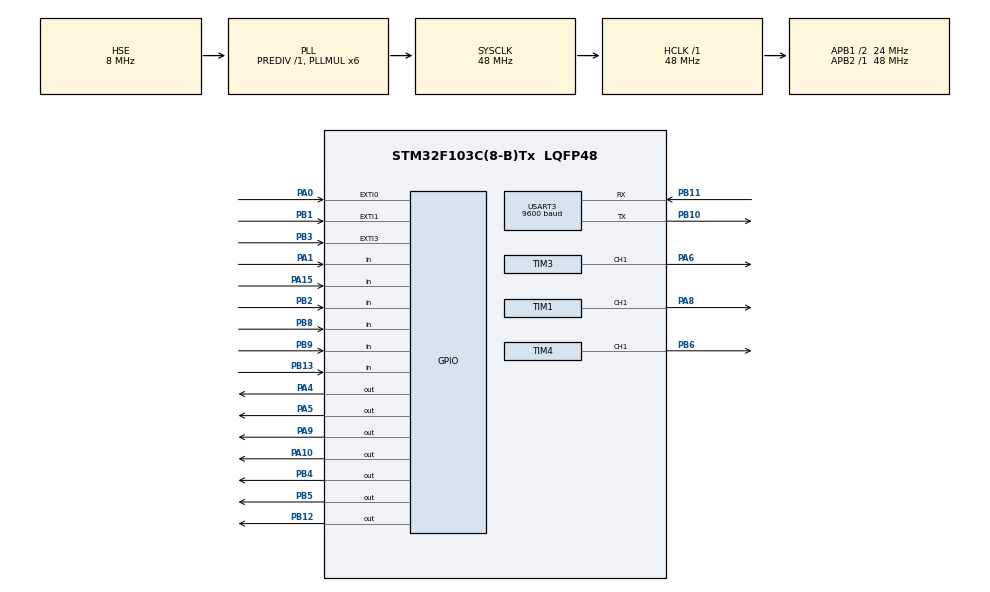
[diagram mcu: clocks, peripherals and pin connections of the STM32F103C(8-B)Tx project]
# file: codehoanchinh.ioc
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Dma.Request0=USART3_RX
Dma.USART3_RX.0.Direction=DMA_PERIPH_TO_MEMORY
Dma.USART3_RX.0.Instance=DMA1_Channel3
Dma.USART3_RX.0.MemDataAlignment=DMA_MDATAALIGN_BYTE
Dma.USART3_RX.0.MemInc=DMA_MINC_ENABLE
Dma.USART3_RX.0.Mode=DMA_CIRCULAR
Dma.USART3_RX.0.PeriphDataAlignment=DMA_PDATAALIGN_BYTE
Dma.USART3_RX.0.PeriphInc=DMA_PINC_DISABLE
Dma.USART3_RX.0.Priority=DMA_PRIORITY_LOW
Mcu.Family=STM32F1
Mcu.Name=STM32F103C(8-B)Tx
Mcu.Package=LQFP48
NVIC.DMA1_Channel3_IRQn=true\:0\:0\:false\:false\:true\:false\:true\:true
NVIC.EXTI0_IRQn=true\:2\:0\:true\:false\:true\:true\:true\:true
NVIC.EXTI1_IRQn=true\:2\:0\:true\:false\:true\:true\:true\:true
NVIC.EXTI3_IRQn=true\:1\:0\:true\:false\:true\:true\:true\:true
NVIC.PriorityGroup=NVIC_PRIORITYGROUP_4
NVIC.TIM2_IRQn=true\:1\:0\:true\:false\:true\:true\:true\:true
NVIC.USART3_IRQn=true\:1\:0\:true\:false\:true\:true\:true\:true
PA0-WKUP.GPIO_ModeDefaultEXTI=GPIO_MODE_IT_FALLING
PA0-WKUP.GPIO_PuPd=GPIO_PULLUP
PA0-WKUP.Signal=GPXTI0
PA1.GPIO_PuPd=GPIO_PULLUP
PA1.Signal=GPIO_Input
PA10.Signal=GPIO_Output
PA13.Mode=Serial_Wire
PA13.Signal=SYS_JTMS-SWDIO
PA14.Mode=Serial_Wire
PA14.Signal=SYS_JTCK-SWCLK
PA15.GPIO_PuPd=GPIO_PULLUP
PA15.Signal=GPIO_Input
PA4.Signal=GPIO_Output
PA5.Signal=GPIO_Output
PA6.Signal=S_TIM3_CH1
PA8.Signal=S_TIM1_CH1
PA9.Signal=GPIO_Output
PB1.GPIO_PuPd=GPIO_PULLUP
PB1.Signal=GPXTI1
PB10.Mode=Asynchronous
PB10.Signal=USART3_TX
PB11.Mode=Asynchronous
PB11.Signal=USART3_RX
PB12.GPIO_PuPd=GPIO_PULLDOWN
PB12.Signal=GPIO_Output
PB13.GPIO_PuPd=GPIO_PULLDOWN
PB13.Signal=GPIO_Input
PB2.GPIO_PuPd=GPIO_PULLUP
PB2.Signal=GPIO_Input
PB3.GPIO_ModeDefaultEXTI=GPIO_MODE_IT_FALLING
PB3.GPIO_PuPd=GPIO_PULLUP
PB3.Signal=GPXTI3
PB4.Signal=GPIO_Output
PB5.Signal=GPIO_Output
PB6.Signal=S_TIM4_CH1
PB8.GPIO_PuPd=GPIO_PULLDOWN
PB8.Signal=GPIO_Input
PB9.GPIO_PuPd=GPIO_PULLDOWN
PB9.Signal=GPIO_Input
PD0-OSC_IN.Mode=HSE-External-Oscillator
PD0-OSC_IN.Signal=RCC_OSC_IN
PD1-OSC_OUT.Mode=HSE-External-Oscillator
PD1-OSC_OUT.Signal=RCC_OSC_OUT
ProjectManager.HeapSize=0x200
ProjectManager.StackSize=0x400
ProjectManager.TargetToolchain=MDK-ARM V5.32
RCC.AHBFreq_Value=48000000
RCC.APB1CLKDivider=RCC_HCLK_DIV2
RCC.APB1Freq_Value=24000000
RCC.APB1TimFreq_Value=48000000
RCC.APB2Freq_Value=48000000
RCC.APB2TimFreq_Value=48000000
RCC.HCLKFreq_Value=48000000
RCC.PLLMUL=RCC_PLL_MUL6
RCC.PLLSourceVirtual=RCC_PLLSOURCE_HSE
RCC.SYSCLKFreq_VALUE=48000000
RCC.SYSCLKSource=RCC_SYSCLKSOURCE_PLLCLK
RCC.USBFreq_Value=48000000
SH.S_TIM1_CH1.0=TIM1_CH1,PWM Generation1 CH1
SH.S_TIM3_CH1.0=TIM3_CH1,PWM Generation1 CH1
SH.S_TIM4_CH1.0=TIM4_CH1,PWM Generation1 CH1
TIM1.Channel-PWM\ Generation1\ CH1=TIM_CHANNEL_1
TIM1.Period=254
TIM1.Prescaler=1881
TIM2.Period=99
TIM2.Prescaler=4799
TIM3.Channel-PWM\ Generation1\ CH1=TIM_CHANNEL_1
TIM3.Period=254
TIM3.Prescaler=1881
TIM4.Channel-PWM\ Generation1\ CH1=TIM_CHANNEL_1
TIM4.Period=254
TIM4.Prescaler=1881
USART3.BaudRate=9600
USART3.VirtualMode=VM_ASYNC
VP_TIM1_VS_ClockSourceINT.Mode=Internal
VP_TIM2_VS_ClockSourceINT.Mode=Internal
VP_TIM3_VS_ClockSourceINT.Mode=Internal
VP_TIM4_VS_ClockSourceINT.Mode=Internal
board=custom

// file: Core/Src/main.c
/* USER CODE BEGIN Header */
/**
  ******************************************************************************
  * @file           : main.c
  * @brief          : Main program body
  ******************************************************************************
  * @attention
  *
  * Copyright (c) 2023 STMicroelectronics.
  * All rights reserved.
  *
  * This software is licensed under terms that can be found in the LICENSE file
  * in the root directory of this software component.
  * If no LICENSE file comes with this software, it is provided AS-IS.
  *
  ******************************************************************************
  */
/* USER CODE END Header */
#include "main.h"

/* USER CODE BEGIN Includes */
#include <stdlib.h>
#include <stdio.h> // for sprintf and sscanf
#include <string.h>

/* USER CODE END Includes */

TIM_HandleTypeDef htim1;
TIM_HandleTypeDef htim2;
TIM_HandleTypeDef htim3;
TIM_HandleTypeDef htim4;

UART_HandleTypeDef huart3;
DMA_HandleTypeDef hdma_usart3_rx;

/* USER CODE BEGIN PV */
#define pick HAL_GPIO_WritePin(GPIOB, GPIO_PIN_12, GPIO_PIN_SET)
#define drop HAL_GPIO_WritePin(GPIOB, GPIO_PIN_12, GPIO_PIN_RESET)
/* USER CODE END PV */

void SystemClock_Config(void);
static void MX_GPIO_Init(void);
static void MX_DMA_Init(void);
static void MX_TIM1_Init(void);
static void MX_TIM2_Init(void);
static void MX_TIM3_Init(void);
static void MX_TIM4_Init(void);
static void MX_USART3_UART_Init(void);
/* USER CODE BEGIN PFP */
uint8_t buff[10];uint16_t size ;
#define RX_SIZE 10
uint8_t rxBuffer[RX_SIZE] = {0};
uint8_t uart_buff[10];
uint8_t count,READ,len;
char char_buff[10];
int a,b,c;
float value;
float vitridat,vitridat2,vitridat3;
float vitridat_last;
uint8_t flag;
uint8_t sensorValue1,sensorValue2,sensorValue3;
int flag1,flag2,flag3;
//const int phase_a = GPIO_PIN_0;  // Ch?n GPIO_PIN tuong ?ng v?i phase_a
//const int phase_b = GPIO_PIN_1;  // Ch?n GPIO_PIN tuong ?ng v?i phase_b
const int encoder_pulse = 1793;  // S? xung m?i vтng (thay d?i theo ph?n c?ng)

float T,pulseLast;
volatile float pulse=0;
float E,E1,E2;
float vitri,vitri_last,vitridat_last;
float alpha, beta, gamma, Kp, Kd, Ki;
float Output,LastOutput;

int dao;

float pulseLast2;
volatile float pulse2=0;
float Ea,E1a,E2a;
float vitri2,vitri_last2,vitridat_last2;
float alpha2, beta2, gamma2, Kp2, Kd2, Ki2;
float Output2,LastOutput2;

float pulseLast3;
volatile float pulse3=0;
float Eb,E1b,E2b;
float vitri3,vitri_last3,vitridat_last3;
float alpha3, beta3, gamma3, Kp3, Kd3, Ki3;
float Output3,LastOutput3;

void checkSetHomeDC1()
{
	if(sensorValue1==1)
	{
		if(flag1==0)
		{
			HAL_TIM_PWM_Stop(&htim1, TIM_CHANNEL_1);
		vitridat= 0;vitri=0;pulse=0;
		flag1=1;
	}
		}
		if(flag1==1)
		{
			HAL_TIM_PWM_Start(&htim1, TIM_CHANNEL_1);
			vitridat=140*40/16;
			if(vitri>vitridat-10 && vitri<vitridat+5)
				{
					pulse=0;
					vitri=0; vitridat=0;flag1=0;
				}
		}
}

void checkSetHomeDC2()
{
	if(sensorValue2==1)
	{
		if(flag2==0)
		{
			HAL_TIM_PWM_Stop(&htim3, TIM_CHANNEL_1);
			vitridat2=0;vitri2=0;pulse2=0;
			flag2=1;
		}
	}
		if(flag2==1)
		{
			HAL_TIM_PWM_Start(&htim3, TIM_CHANNEL_1);
			vitridat2=180*60/16;
			if(vitri2>vitridat2-3 && vitri2<vitridat2+3)
				{
					pulse2=0;
					vitri2=0; vitridat2=0;flag2=0;
				}
		}
}
void checkSetHomeDC3()
{
	if(sensorValue3==1)
	{
		if(flag3==0)
		{
			HAL_TIM_PWM_Stop(&htim4, TIM_CHANNEL_1);
			vitridat3=0;vitri3=0;pulse3=0;
			flag3=1;
		}
	}
		if(flag3==1)
		{
			HAL_TIM_PWM_Start(&htim4, TIM_CHANNEL_1);
			vitridat3=-95*60/16;
			if(vitri3>vitridat3-10&& vitri3<vitridat3+5)
				{

					pulse3=0;
					vitri3=0; vitridat3=0;flag3=0;
				}
		}
}
void pick_drop()
{
	if(c==2)
	{
		if(dao%2==0)
		{
			drop;
		}
		else{
			pick;
		}
	}
}
void readSensor()
{
	sensorValue1 = HAL_GPIO_ReadPin(GPIOB, GPIO_PIN_13);
	sensorValue2 = HAL_GPIO_ReadPin(GPIOB, GPIO_PIN_8);
	sensorValue3 = HAL_GPIO_ReadPin(GPIOB, GPIO_PIN_9);
	checkSetHomeDC1();
	checkSetHomeDC2();
	checkSetHomeDC3();
	READ = HAL_GPIO_ReadPin(GPIOB, GPIO_PIN_12);
	//pick_drop();
}

void HAL_GPIO_EXTI_Callback(uint16_t GPIO_Pin)
{
    if (GPIO_Pin == GPIO_PIN_0) // GPIO_PIN_0 lа nъt nh?n k?t n?i d?n chвn GPIOx_PIN_0
    {
         if (HAL_GPIO_ReadPin(GPIOA, GPIO_PIN_1) == GPIO_PIN_SET)
        {
            pulse--;
        }
        else
        {
            pulse++;
        }
    }
		else if(GPIO_Pin == GPIO_PIN_1)
		{
			if (HAL_GPIO_ReadPin(GPIOB, GPIO_PIN_2) == GPIO_PIN_SET)
        {
            pulse2++;
        }
        else
        {
            pulse2--;
        }
		}
		else if(GPIO_Pin == GPIO_PIN_3)
		{
			if (HAL_GPIO_ReadPin(GPIOA, GPIO_PIN_15) == GPIO_PIN_SET)
        {
					a++;
            pulse3--;
        }
        else
        {
					a--;
            pulse3++;
        }
		}
}

void PID() {
	  a++;
    vitri = pulse * 360.0 / encoder_pulse;
    E = vitridat - vitri;
    alpha = 2 * T * Kp + Ki * T * T + 2 * Kd;
    beta = T * T * Ki - 4 * Kd - 2 * T * Kp;
    gamma = 2 * Kd;
    Output = (alpha * E + beta * E1 + gamma * E2 + 2 * T * LastOutput) / (2 * T);
    LastOutput = Output;
    E2 = E1;
    E1 = E;

    if (Output > 254) {
        Output = 254;

    }
    if (Output < -254) {
        Output = -254;

    }

    if (Output > 0) {
        __HAL_TIM_SetCompare(&htim1,TIM_CHANNEL_1,Output/4);
        HAL_GPIO_WritePin(GPIOA, GPIO_PIN_9, 1);
        HAL_GPIO_WritePin(GPIOA, GPIO_PIN_10, 0);
    } else if (Output < 0) {
        __HAL_TIM_SetCompare(&htim1,TIM_CHANNEL_1,abs((int)(Output/4)));
        HAL_GPIO_WritePin(GPIOA, GPIO_PIN_9, 0);
        HAL_GPIO_WritePin(GPIOA, GPIO_PIN_10, 1);
    } else {
        __HAL_TIM_SetCompare(&htim1,TIM_CHANNEL_1,0);
        HAL_GPIO_WritePin(GPIOA, GPIO_PIN_9, 0);
        HAL_GPIO_WritePin(GPIOA, GPIO_PIN_10, 0);
    }
}

void PID2() {

    vitri2 = pulse2 * 360.0 / encoder_pulse;
    Ea = vitridat2 - vitri2;
    alpha2 = 2 * T * Kp2 + Ki2 * T * T + 2 * Kd2;
    beta2 = T * T * Ki2 - 4 * Kd2 - 2 * T * Kp2;
    gamma2 = 2 * Kd2;
    Output2 = (alpha2 * Ea + beta2 * E1a + gamma2 * E2a + 2 * T * LastOutput2) / (2 * T);
    LastOutput2 = Output2;
    E2a = E1a;
    E1a = Ea;

    if (Output2 > 254) {
        Output2 = 254;

    }
    if (Output2 < -254) {
        Output2 = -254;

    }
		/*test=(int)Output*100/255;*/

    if (Output2 > 0) {
        __HAL_TIM_SetCompare(&htim3,TIM_CHANNEL_1,(Output2)/3);
        HAL_GPIO_WritePin(GPIOA, GPIO_PIN_4, 1);
        HAL_GPIO_WritePin(GPIOA, GPIO_PIN_5, 0);
    } else if (Output2 < 0) {
        __HAL_TIM_SetCompare(&htim3,TIM_CHANNEL_1,abs((int)((Output2)/3)));
        HAL_GPIO_WritePin(GPIOA, GPIO_PIN_4, 0);
        HAL_GPIO_WritePin(GPIOA, GPIO_PIN_5, 1);
    } else {
        __HAL_TIM_SetCompare(&htim3,TIM_CHANNEL_1,0);
        HAL_GPIO_WritePin(GPIOA, GPIO_PIN_4, 0);
        HAL_GPIO_WritePin(GPIOA, GPIO_PIN_5, 0);
    }
}

void PID3() {
		//c++;
    vitri3 = pulse3 * 360.0 / encoder_pulse;
    Eb = vitridat3 - vitri3;
    alpha3 = 2 * T * Kp3 + Ki3 * T * T + 2 * Kd3;
    beta3 = T * T * Ki3 - 4 * Kd3 - 2 * T * Kp3;
    gamma3 = 2 * Kd3;
    Output3 = (alpha3 * Eb + beta3 * E1b + gamma3 * E2b + 2 * T * LastOutput3) / (2 * T);
    LastOutput3 = Output3;
    E2b = E1b;
    E1b = Eb;

    if (Output3 > 254) {
        Output3 = 254;

    }
    if (Output3 < -254) {
        Output3 = -254;

    }
		/*test=(int)Output*100/255;*/

    if (Output3 > 0) {
        __HAL_TIM_SetCompare(&htim4,TIM_CHANNEL_1,(Output3)/3);
        HAL_GPIO_WritePin(GPIOB, GPIO_PIN_4, 1);
        HAL_GPIO_WritePin(GPIOB, GPIO_PIN_5, 0);
    } else if (Output3 < 0) {
        __HAL_TIM_SetCompare(&htim4,TIM_CHANNEL_1,abs((int)((Output3)/3)));
        HAL_GPIO_WritePin(GPIOB, GPIO_PIN_4, 0);
        HAL_GPIO_WritePin(GPIOB, GPIO_PIN_5, 1);
    } else {
        __HAL_TIM_SetCompare(&htim4,TIM_CHANNEL_1,0);
        HAL_GPIO_WritePin(GPIOB, GPIO_PIN_4, 0);
        HAL_GPIO_WritePin(GPIOB, GPIO_PIN_5, 0);
    }
}

void HAL_TIM_PeriodElapsedCallback(TIM_HandleTypeDef *htim) {
	/*static uint16_t cnt =99;*/
  if (htim->Instance == htim2.Instance) {
			readSensor();
      PID();
			//PID2();
			//PID3();
	}

}

void HAL_UARTEx_RxEventCallback(UART_HandleTypeDef *huart, uint16_t Size)
{

	if(rxBuffer[0] == '\n')
	{
		flag=1;len=0;//HAL_GPIO_WritePin(GPIOB, GPIO_PIN_12, GPIO_PIN_SET);
	}
	else
	{
		uart_buff[len++] = rxBuffer[0];
	}
}
/* USER CODE END PFP */

int main(void)
{

  /* MCU Configuration--------------------------------------------------------*/

  /* Reset of all peripherals, Initializes the Flash interface and the Systick. */
  HAL_Init();

  /* Configure the system clock */
  SystemClock_Config();

  /* Initialize all configured peripherals */
  MX_GPIO_Init();
  MX_DMA_Init();
  MX_TIM1_Init();
  MX_TIM2_Init();
  MX_TIM3_Init();
  MX_TIM4_Init();
  MX_USART3_UART_Init();
  /* USER CODE BEGIN 2 */
	//HAL_UART_Receive_IT(&huart3, &data_rx,1);

	HAL_UARTEx_ReceiveToIdle_DMA(&huart3, rxBuffer, 1);
	__HAL_DMA_DISABLE_IT(&hdma_usart3_rx, DMA_IT_HT);
	HAL_TIM_PWM_Start(&htim1,TIM_CHANNEL_1);
	HAL_TIM_Base_Start_IT(&htim2);
	HAL_TIM_PWM_Start(&htim3,TIM_CHANNEL_1);
	HAL_TIM_PWM_Start(&htim4,TIM_CHANNEL_1);

	vitri=0;count=0;
	E=0;E1=0;E2=0;
	Output=0;LastOutput=0;
	 //Thong So PID
	T=0.01;// Thoi gian lay ma
	Kp =32.5;Kd=5.55;Ki=0.001;

	vitri2=0;Ea=0;E1a=0;E2a=0;Kp2 =60;Kd2=0.55;Ki2=0.001;Output2=0;LastOutput2=0;
	vitri3=0;Eb=0;E1b=0;E2b=0;Kp3 =13.9;Kd3=0.02;Ki3=0.02;Output3=0;LastOutput3=0;

	a=0;b=0;int d=0;
	vitridat=0;vitridat2=0;vitridat3=0;
	//vitridat_last =0;
	char* data;
  flag2=0;flag3=0;flag1=0;flag=0;  value=0; c =0;size=0;len=0;
  /* USER CODE END 2 */

  /* Infinite loop */
  /* USER CODE BEGIN WHILE */
  while (1)
  {
		HAL_Delay(1);
		if(flag==1)
		{

				for (int i = 0; i < 10; i++) {
        char_buff[i] = (char) uart_buff[i];
			}
			memset(uart_buff, 0, 10);

				char* token = strtok(char_buff, ",");
				if (token != NULL) {
						vitridat = strtof(token, NULL)*40/16;

						}

				// Move to the next token
				token = strtok(NULL, ",");

				// Convert the second token to float and store it in vitridat2
				if (token != NULL) {
						vitridat2 = strtof(token, NULL)*60/16;
						}

				// Move to the third token
				token = strtok(NULL, ",");
        if (token != NULL) {
						vitridat3 = strtof(token, NULL)*60/16;
						}
				// Convert the third token to float and store it in vitridat3

				HAL_TIM_PWM_Start(&htim1, TIM_CHANNEL_1);
				HAL_TIM_PWM_Start(&htim3, TIM_CHANNEL_1);
				HAL_TIM_PWM_Start(&htim4, TIM_CHANNEL_1);
				flag=0;
						}
    /* USER CODE END WHILE */

  }
}

void SystemClock_Config(void)
{
  RCC_OscInitTypeDef RCC_OscInitStruct = {0};
  RCC_ClkInitTypeDef RCC_ClkInitStruct = {0};

  /** Initializes the RCC Oscillators according to the specified parameters
  * in the RCC_OscInitTypeDef structure.
  */
  RCC_OscInitStruct.OscillatorType = RCC_OSCILLATORTYPE_HSE;
  RCC_OscInitStruct.HSEState = RCC_HSE_ON;
  RCC_OscInitStruct.HSEPredivValue = RCC_HSE_PREDIV_DIV1;
  RCC_OscInitStruct.HSIState = RCC_HSI_ON;
  RCC_OscInitStruct.PLL.PLLState = RCC_PLL_ON;
  RCC_OscInitStruct.PLL.PLLSource = RCC_PLLSOURCE_HSE;
  RCC_OscInitStruct.PLL.PLLMUL = RCC_PLL_MUL6;
  if (HAL_RCC_OscConfig(&RCC_OscInitStruct) != HAL_OK)
  {
    Error_Handler();
  }

  /** Initializes the CPU, AHB and APB buses clocks
  */
  RCC_ClkInitStruct.ClockType = RCC_CLOCKTYPE_HCLK|RCC_CLOCKTYPE_SYSCLK
                              |RCC_CLOCKTYPE_PCLK1|RCC_CLOCKTYPE_PCLK2;
  RCC_ClkInitStruct.SYSCLKSource = RCC_SYSCLKSOURCE_PLLCLK;
  RCC_ClkInitStruct.AHBCLKDivider = RCC_SYSCLK_DIV1;
  RCC_ClkInitStruct.APB1CLKDivider = RCC_HCLK_DIV2;
  RCC_ClkInitStruct.APB2CLKDivider = RCC_HCLK_DIV1;

  if (HAL_RCC_ClockConfig(&RCC_ClkInitStruct, FLASH_LATENCY_1) != HAL_OK)
  {
    Error_Handler();
  }
}

static void MX_TIM1_Init(void)
{

  TIM_ClockConfigTypeDef sClockSourceConfig = {0};
  TIM_MasterConfigTypeDef sMasterConfig = {0};
  TIM_OC_InitTypeDef sConfigOC = {0};
  TIM_BreakDeadTimeConfigTypeDef sBreakDeadTimeConfig = {0};

  htim1.Instance = TIM1;
  htim1.Init.Prescaler = 1881;
  htim1.Init.CounterMode = TIM_COUNTERMODE_UP;
  htim1.Init.Period = 254;
  htim1.Init.ClockDivision = TIM_CLOCKDIVISION_DIV1;
  htim1.Init.RepetitionCounter = 0;
  htim1.Init.AutoReloadPreload = TIM_AUTORELOAD_PRELOAD_DISABLE;
  if (HAL_TIM_Base_Init(&htim1) != HAL_OK)
  {
    Error_Handler();
  }
  sClockSourceConfig.ClockSource = TIM_CLOCKSOURCE_INTERNAL;
  if (HAL_TIM_ConfigClockSource(&htim1, &sClockSourceConfig) != HAL_OK)
  {
    Error_Handler();
  }
  if (HAL_TIM_PWM_Init(&htim1) != HAL_OK)
  {
    Error_Handler();
  }
  sMasterConfig.MasterOutputTrigger = TIM_TRGO_RESET;
  sMasterConfig.MasterSlaveMode = TIM_MASTERSLAVEMODE_DISABLE;
  if (HAL_TIMEx_MasterConfigSynchronization(&htim1, &sMasterConfig) != HAL_OK)
  {
    Error_Handler();
  }
  sConfigOC.OCMode = TIM_OCMODE_PWM1;
  sConfigOC.Pulse = 0;
  sConfigOC.OCPolarity = TIM_OCPOLARITY_HIGH;
  sConfigOC.OCNPolarity = TIM_OCNPOLARITY_HIGH;
  sConfigOC.OCFastMode = TIM_OCFAST_DISABLE;
  sConfigOC.OCIdleState = TIM_OCIDLESTATE_RESET;
  sConfigOC.OCNIdleState = TIM_OCNIDLESTATE_RESET;
  if (HAL_TIM_PWM_ConfigChannel(&htim1, &sConfigOC, TIM_CHANNEL_1) != HAL_OK)
  {
    Error_Handler();
  }
  sBreakDeadTimeConfig.OffStateRunMode = TIM_OSSR_DISABLE;
  sBreakDeadTimeConfig.OffStateIDLEMode = TIM_OSSI_DISABLE;
  sBreakDeadTimeConfig.LockLevel = TIM_LOCKLEVEL_OFF;
  sBreakDeadTimeConfig.DeadTime = 0;
  sBreakDeadTimeConfig.BreakState = TIM_BREAK_DISABLE;
  sBreakDeadTimeConfig.BreakPolarity = TIM_BREAKPOLARITY_HIGH;
  sBreakDeadTimeConfig.AutomaticOutput = TIM_AUTOMATICOUTPUT_DISABLE;
  if (HAL_TIMEx_ConfigBreakDeadTime(&htim1, &sBreakDeadTimeConfig) != HAL_OK)
  {
    Error_Handler();
  }
  HAL_TIM_MspPostInit(&htim1);

}

static void MX_TIM2_Init(void)
{

  TIM_ClockConfigTypeDef sClockSourceConfig = {0};
  TIM_MasterConfigTypeDef sMasterConfig = {0};

  htim2.Instance = TIM2;
  htim2.Init.Prescaler = 4799;
  htim2.Init.CounterMode = TIM_COUNTERMODE_UP;
  htim2.Init.Period = 99;
  htim2.Init.ClockDivision = TIM_CLOCKDIVISION_DIV1;
  htim2.Init.AutoReloadPreload = TIM_AUTORELOAD_PRELOAD_DISABLE;
  if (HAL_TIM_Base_Init(&htim2) != HAL_OK)
  {
    Error_Handler();
  }
  sClockSourceConfig.ClockSource = TIM_CLOCKSOURCE_INTERNAL;
  if (HAL_TIM_ConfigClockSource(&htim2, &sClockSourceConfig) != HAL_OK)
  {
    Error_Handler();
  }
  sMasterConfig.MasterOutputTrigger = TIM_TRGO_RESET;
  sMasterConfig.MasterSlaveMode = TIM_MASTERSLAVEMODE_DISABLE;
  if (HAL_TIMEx_MasterConfigSynchronization(&htim2, &sMasterConfig) != HAL_OK)
  {
    Error_Handler();
  }

}

static void MX_TIM3_Init(void)
{

  TIM_ClockConfigTypeDef sClockSourceConfig = {0};
  TIM_MasterConfigTypeDef sMasterConfig = {0};
  TIM_OC_InitTypeDef sConfigOC = {0};

  htim3.Instance = TIM3;
  htim3.Init.Prescaler = 1881;
  htim3.Init.CounterMode = TIM_COUNTERMODE_UP;
  htim3.Init.Period = 254;
  htim3.Init.ClockDivision = TIM_CLOCKDIVISION_DIV1;
  htim3.Init.AutoReloadPreload = TIM_AUTORELOAD_PRELOAD_DISABLE;
  if (HAL_TIM_Base_Init(&htim3) != HAL_OK)
  {
    Error_Handler();
  }
  sClockSourceConfig.ClockSource = TIM_CLOCKSOURCE_INTERNAL;
  if (HAL_TIM_ConfigClockSource(&htim3, &sClockSourceConfig) != HAL_OK)
  {
    Error_Handler();
  }
  if (HAL_TIM_PWM_Init(&htim3) != HAL_OK)
  {
    Error_Handler();
  }
  sMasterConfig.MasterOutputTrigger = TIM_TRGO_RESET;
  sMasterConfig.MasterSlaveMode = TIM_MASTERSLAVEMODE_DISABLE;
  if (HAL_TIMEx_MasterConfigSynchronization(&htim3, &sMasterConfig) != HAL_OK)
  {
    Error_Handler();
  }
  sConfigOC.OCMode = TIM_OCMODE_PWM1;
  sConfigOC.Pulse = 0;
  sConfigOC.OCPolarity = TIM_OCPOLARITY_HIGH;
  sConfigOC.OCFastMode = TIM_OCFAST_DISABLE;
  if (HAL_TIM_PWM_ConfigChannel(&htim3, &sConfigOC, TIM_CHANNEL_1) != HAL_OK)
  {
    Error_Handler();
  }
  HAL_TIM_MspPostInit(&htim3);

}

static void MX_TIM4_Init(void)
{

  TIM_ClockConfigTypeDef sClockSourceConfig = {0};
  TIM_MasterConfigTypeDef sMasterConfig = {0};
  TIM_OC_InitTypeDef sConfigOC = {0};

  htim4.Instance = TIM4;
  htim4.Init.Prescaler = 1881;
  htim4.Init.CounterMode = TIM_COUNTERMODE_UP;
  htim4.Init.Period = 254;
  htim4.Init.ClockDivision = TIM_CLOCKDIVISION_DIV1;
  htim4.Init.AutoReloadPreload = TIM_AUTORELOAD_PRELOAD_DISABLE;
  if (HAL_TIM_Base_Init(&htim4) != HAL_OK)
  {
    Error_Handler();
  }
  sClockSourceConfig.ClockSource = TIM_CLOCKSOURCE_INTERNAL;
  if (HAL_TIM_ConfigClockSource(&htim4, &sClockSourceConfig) != HAL_OK)
  {
    Error_Handler();
  }
  if (HAL_TIM_PWM_Init(&htim4) != HAL_OK)
  {
    Error_Handler();
  }
  sMasterConfig.MasterOutputTrigger = TIM_TRGO_RESET;
  sMasterConfig.MasterSlaveMode = TIM_MASTERSLAVEMODE_DISABLE;
  if (HAL_TIMEx_MasterConfigSynchronization(&htim4, &sMasterConfig) != HAL_OK)
  {
    Error_Handler();
  }
  sConfigOC.OCMode = TIM_OCMODE_PWM1;
  sConfigOC.Pulse = 0;
  sConfigOC.OCPolarity = TIM_OCPOLARITY_HIGH;
  sConfigOC.OCFastMode = TIM_OCFAST_DISABLE;
  if (HAL_TIM_PWM_ConfigChannel(&htim4, &sConfigOC, TIM_CHANNEL_1) != HAL_OK)
  {
    Error_Handler();
  }
  HAL_TIM_MspPostInit(&htim4);

}

static void MX_USART3_UART_Init(void)
{

  huart3.Instance = USART3;
  huart3.Init.BaudRate = 9600;
  huart3.Init.WordLength = UART_WORDLENGTH_8B;
  huart3.Init.StopBits = UART_STOPBITS_1;
  huart3.Init.Parity = UART_PARITY_NONE;
  huart3.Init.Mode = UART_MODE_TX_RX;
  huart3.Init.HwFlowCtl = UART_HWCONTROL_NONE;
  huart3.Init.OverSampling = UART_OVERSAMPLING_16;
  if (HAL_UART_Init(&huart3) != HAL_OK)
  {
    Error_Handler();
  }

}

static void MX_DMA_Init(void)
{

  /* DMA controller clock enable */
  __HAL_RCC_DMA1_CLK_ENABLE();

  /* DMA interrupt init */
  /* DMA1_Channel3_IRQn interrupt configuration */
  HAL_NVIC_SetPriority(DMA1_Channel3_IRQn, 0, 0);
  HAL_NVIC_EnableIRQ(DMA1_Channel3_IRQn);

}

static void MX_GPIO_Init(void)
{
  GPIO_InitTypeDef GPIO_InitStruct = {0};

  /* GPIO Ports Clock Enable */
  __HAL_RCC_GPIOD_CLK_ENABLE();
  __HAL_RCC_GPIOA_CLK_ENABLE();
  __HAL_RCC_GPIOB_CLK_ENABLE();

  /*Configure GPIO pin Output Level */
  HAL_GPIO_WritePin(GPIOA, GPIO_PIN_4|GPIO_PIN_5|GPIO_PIN_9|GPIO_PIN_10, GPIO_PIN_RESET);

  /*Configure GPIO pin Output Level */
  HAL_GPIO_WritePin(GPIOB, GPIO_PIN_12|GPIO_PIN_4|GPIO_PIN_5, GPIO_PIN_RESET);

  /*Configure GPIO pin : PA0 */
  GPIO_InitStruct.Pin = GPIO_PIN_0;
  GPIO_InitStruct.Mode = GPIO_MODE_IT_FALLING;
  GPIO_InitStruct.Pull = GPIO_PULLUP;
  HAL_GPIO_Init(GPIOA, &GPIO_InitStruct);

  /*Configure GPIO pins : PA1 PA15 */
  GPIO_InitStruct.Pin = GPIO_PIN_1|GPIO_PIN_15;
  GPIO_InitStruct.Mode = GPIO_MODE_INPUT;
  GPIO_InitStruct.Pull = GPIO_PULLUP;
  HAL_GPIO_Init(GPIOA, &GPIO_InitStruct);

  /*Configure GPIO pins : PA4 PA5 PA9 PA10 */
  GPIO_InitStruct.Pin = GPIO_PIN_4|GPIO_PIN_5|GPIO_PIN_9|GPIO_PIN_10;
  GPIO_InitStruct.Mode = GPIO_MODE_OUTPUT_PP;
  GPIO_InitStruct.Pull = GPIO_NOPULL;
  GPIO_InitStruct.Speed = GPIO_SPEED_FREQ_LOW;
  HAL_GPIO_Init(GPIOA, &GPIO_InitStruct);

  /*Configure GPIO pin : PB1 */
  GPIO_InitStruct.Pin = GPIO_PIN_1;
  GPIO_InitStruct.Mode = GPIO_MODE_IT_RISING;
  GPIO_InitStruct.Pull = GPIO_PULLUP;
  HAL_GPIO_Init(GPIOB, &GPIO_InitStruct);

  /*Configure GPIO pin : PB2 */
  GPIO_InitStruct.Pin = GPIO_PIN_2;
  GPIO_InitStruct.Mode = GPIO_MODE_INPUT;
  GPIO_InitStruct.Pull = GPIO_PULLUP;
  HAL_GPIO_Init(GPIOB, &GPIO_InitStruct);

  /*Configure GPIO pin : PB12 */
  GPIO_InitStruct.Pin = GPIO_PIN_12;
  GPIO_InitStruct.Mode = GPIO_MODE_OUTPUT_PP;
  GPIO_InitStruct.Pull = GPIO_PULLDOWN;
  GPIO_InitStruct.Speed = GPIO_SPEED_FREQ_LOW;
  HAL_GPIO_Init(GPIOB, &GPIO_InitStruct);

  /*Configure GPIO pins : PB13 PB8 PB9 */
  GPIO_InitStruct.Pin = GPIO_PIN_13|GPIO_PIN_8|GPIO_PIN_9;
  GPIO_InitStruct.Mode = GPIO_MODE_INPUT;
  GPIO_InitStruct.Pull = GPIO_PULLDOWN;
  HAL_GPIO_Init(GPIOB, &GPIO_InitStruct);

  /*Configure GPIO pin : PB3 */
  GPIO_InitStruct.Pin = GPIO_PIN_3;
  GPIO_InitStruct.Mode = GPIO_MODE_IT_FALLING;
  GPIO_InitStruct.Pull = GPIO_PULLUP;
  HAL_GPIO_Init(GPIOB, &GPIO_InitStruct);

  /*Configure GPIO pins : PB4 PB5 */
  GPIO_InitStruct.Pin = GPIO_PIN_4|GPIO_PIN_5;
  GPIO_InitStruct.Mode = GPIO_MODE_OUTPUT_PP;
  GPIO_InitStruct.Pull = GPIO_NOPULL;
  GPIO_InitStruct.Speed = GPIO_SPEED_FREQ_LOW;
  HAL_GPIO_Init(GPIOB, &GPIO_InitStruct);

  /* EXTI interrupt init*/
  HAL_NVIC_SetPriority(EXTI0_IRQn, 2, 0);
  HAL_NVIC_EnableIRQ(EXTI0_IRQn);

  HAL_NVIC_SetPriority(EXTI1_IRQn, 2, 0);
  HAL_NVIC_EnableIRQ(EXTI1_IRQn);

  HAL_NVIC_SetPriority(EXTI3_IRQn, 1, 0);
  HAL_NVIC_EnableIRQ(EXTI3_IRQn);

}

void Error_Handler(void)
{
  __disable_irq();
  while (1)
  {
  }
}
